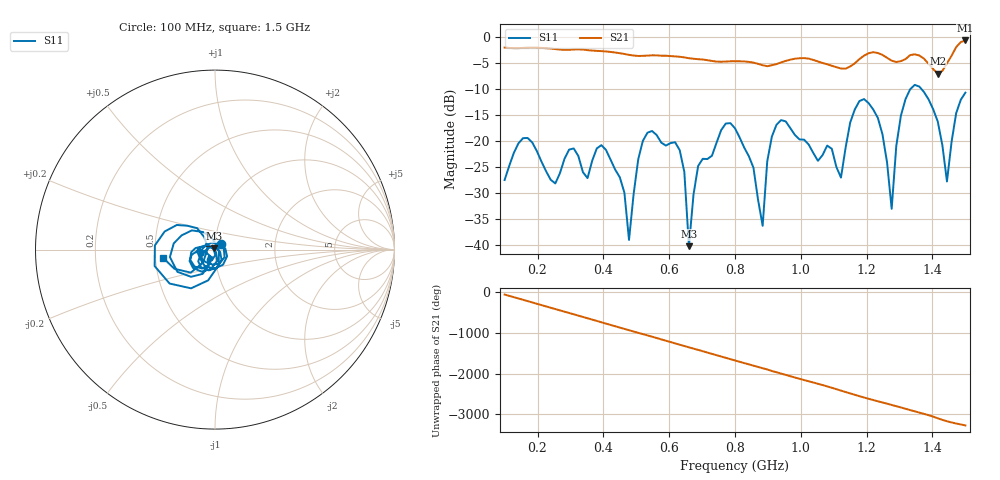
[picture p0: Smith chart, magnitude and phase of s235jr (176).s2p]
! NanoVNA-App
! Date: 2025-09-25 15:05:32
! Start: 100MHz Stop: 1,5GHz Points: 101
! S-Parameter data: F S11 S21 S12 S22
# Hz S RI R 50
!  Frequency  S11_Real  S11_Imag  S21_Real  S21_Imag  S12_Real  S12_Imag  S22_Real  S22_Imag
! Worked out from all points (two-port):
!   101 points, 100 MHz to 1.5 GHz, reference 50 ohm
!   highest |S21| = -0.60 dB at 1.5 GHz (marker M1); lowest = -7.0 dB at 1.416 GHz (marker M2)
!   |S21| within 3 dB of the highest: start of sweep to 601.7 MHz; 1.19 GHz to 1.253 GHz (63.03 MHz wide, 5.16 % of centre) (the widest 2 of 4)
!   lowest |S11| = -40.2 dB at 660 MHz (marker M3), VSWR 1.02, Z = 49.3 + j0.62 ohm
!   |S11| at or under -10 dB: start of sweep to 1.332 GHz; 1.367 GHz to end of sweep
!   S12 and S22 are empty: the file has one direction only
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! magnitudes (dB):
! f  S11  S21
! 100 MHz  -27.5  -2.0
! 156 MHz  -19.4  -2.0
! 338 MHz  -26.0  -2.3
! 408 MHz  -21.7  -2.7
! 478 MHz  -39.0  -3.4
! 520 MHz  -19.9  -3.6
! 576 MHz  -20.3  -3.5
! 632 MHz  -21.7  -3.7
! 660 MHz  -40.2  -4.0
! 688 MHz  -24.8  -4.2
! 800 MHz  -17.5  -4.6
! 884 MHz  -36.3  -5.4
! 926 MHz  -16.8  -5.2
! 1.038 GHz  -22.3  -4.4
! 1.122 GHz  -27.0  -6.0
! 1.192 GHz  -11.9  -3.5
! 1.248 GHz  -18.7  -3.4
! 1.276 GHz  -33.0  -4.5
! 1.332 GHz  -10.0  -3.4
! 1.416 GHz  -16.2  -7.0
! 1.444 GHz  -27.8  -5.0
! 1.5 GHz  -10.6  -0.6
